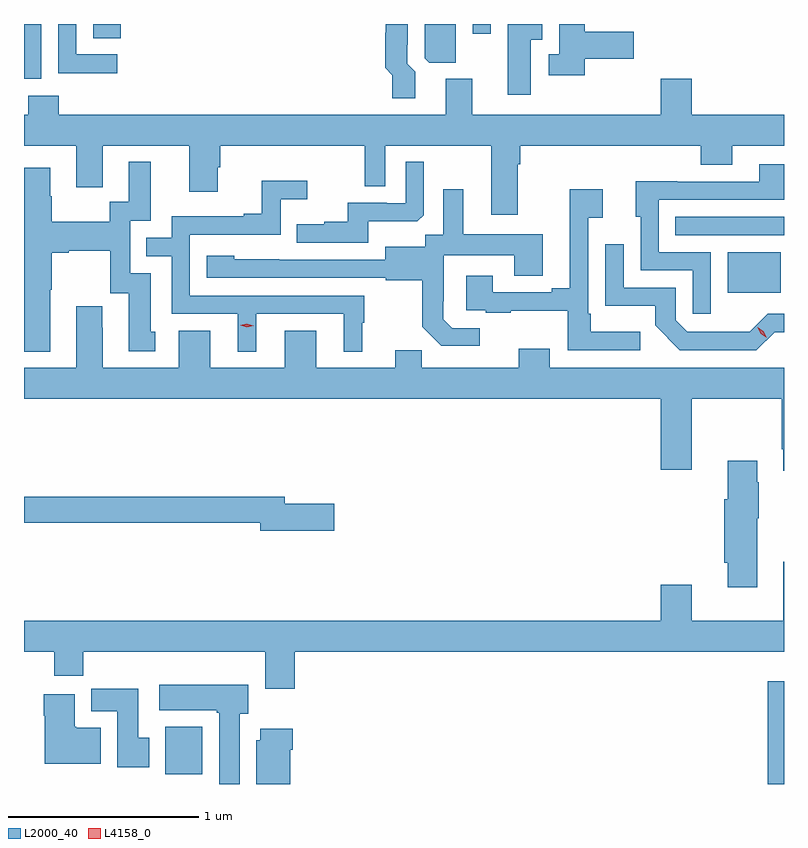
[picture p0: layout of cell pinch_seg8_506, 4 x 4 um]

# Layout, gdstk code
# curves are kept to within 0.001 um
import gdstk
lib = gdstk.Library(unit=1e-6, precision=1e-09)
def R(c, l, rs):  # rectangles x0, y0, x1, y1
    for r in rs: c.add(gdstk.rectangle(r[:2], r[2:], *l))
def P(c, l, *ps):  # polygons
    for p in ps: c.add(gdstk.Polygon(p, *l))
L2000_40 = (2000, 40)
L4158_0 = (4158, 0)

pinch_seg8_506 = lib.new_cell('pinch_seg8_506')
R(pinch_seg8_506, L2000_40, [(225.512,1106.481,225.598,1107.022), (222.341,1106.532,222.537,1106.782), (225.302,1109.066,225.58,1109.281), (225.025,1109.37,225.598,1109.466), (221.598,1110.194,221.689,1110.481), (221.963,1110.406,222.107,1110.481), (223.959,1110.429,224.055,1110.481)])
P(pinch_seg8_506, L2000_40, [(223.87,1110.481),(223.707,1110.481),(223.707,1110.3),(223.731,1110.277),(223.87,1110.277)],
  [(224.549,1110.298),(224.806,1110.298),(224.806,1110.44),(224.549,1110.44),(224.549,1110.481),(224.414,1110.481),(224.414,1110.322),(224.361,1110.322),(224.361,1110.212),(224.549,1110.212)],
  [(223.657,1110.23),(223.614,1110.273),(223.614,1110.373),(223.617,1110.373),(223.617,1110.481),(223.501,1110.481),(223.501,1110.434),(223.499,1110.434),(223.499,1110.25),(223.537,1110.212),(223.537,1110.09),(223.657,1110.09)],
  [(222.088,1110.321),(221.874,1110.321),(221.874,1110.481),(221.778,1110.481),(221.778,1110.223),(222.088,1110.223)],
  [(224.266,1110.398),(224.326,1110.398),(224.326,1110.481),(224.144,1110.481),(224.144,1110.108),(224.266,1110.108)],
  [(224.197,1109.744),(224.21,1109.744),(224.21,1109.84),(225.161,1109.84),(225.161,1109.741),(225.325,1109.741),(225.325,1109.84),(225.598,1109.84),(225.598,1110.004),(225.112,1110.004),(225.112,1110.193),(224.948,1110.193),(224.948,1110.004),(223.957,1110.004),(223.957,1110.192),(223.817,1110.192),(223.817,1110.004),(221.78,1110.004),(221.78,1110.103),(221.62,1110.103),(221.62,1110.004),(221.598,1110.004),(221.598,1109.84),(221.873,1109.84),(221.873,1109.622),(222.013,1109.622),(222.013,1109.84),(222.467,1109.84),(222.467,1109.598),(222.619,1109.598),(222.619,1109.727),(222.632,1109.727),(222.632,1109.84),(223.392,1109.84),(223.392,1109.626),(223.5,1109.626),(223.5,1109.84),(224.057,1109.84),(224.057,1109.478),(224.197,1109.478)],
  [(221.737,1109.083),(221.745,1109.083),(221.745,1109.276),(221.833,1109.276),(221.833,1109.288),(222.053,1109.288),(222.053,1109.064),(222.149,1109.064),(222.149,1108.758),(222.289,1108.758),(222.289,1108.86),(222.265,1108.86),(222.265,1109.169),(222.156,1109.169),(222.156,1109.445),(222.265,1109.445),(222.265,1109.755),(222.149,1109.755),(222.149,1109.546),(222.048,1109.546),(222.048,1109.44),(221.745,1109.44),(221.745,1109.574),(221.737,1109.574),(221.737,1109.725),(221.598,1109.725),(221.598,1108.757),(221.737,1108.757)],
  [(223.411,1109.444),(223.669,1109.444),(223.701,1109.475),(223.701,1109.755),(223.608,1109.755),(223.608,1109.538),(223.508,1109.538),(223.508,1109.541),(223.301,1109.541),(223.301,1109.44),(223.177,1109.44),(223.177,1109.428),(223.033,1109.428),(223.033,1109.331),(223.411,1109.331)],
  [(225.213,1109.28),(224.94,1109.28),(224.94,1109.556),(225.598,1109.556),(225.598,1109.743),(225.467,1109.743),(225.467,1109.652),(225.037,1109.652),(225.037,1109.654),(224.819,1109.654),(224.819,1109.466),(224.844,1109.466),(224.844,1109.184),(225.117,1109.184),(225.117,1108.956),(225.213,1108.956)],
  [(222.82,1108.956),(223.28,1108.956),(223.28,1108.757),(223.378,1108.757),(223.378,1108.908),(223.39,1108.908),(223.39,1109.052),(222.471,1109.052),(222.471,1109.373),(222.948,1109.373),(222.948,1109.558),(223.09,1109.558),(223.09,1109.657),(222.85,1109.657),(222.85,1109.482),(222.755,1109.482),(222.755,1109.469),(222.375,1109.469),(222.375,1109.355),(222.241,1109.355),(222.241,1109.259),(222.375,1109.259),(222.375,1108.956),(222.722,1108.956),(222.722,1108.757),(222.82,1108.757)],
  [(223.996,1108.881),(223.851,1108.881),(223.804,1108.928),(223.804,1109.023),(223.806,1109.023),(223.806,1109.264),(224.177,1109.264),(224.177,1109.155),(224.329,1109.155),(224.329,1109.374),(223.909,1109.374),(223.909,1109.611),(223.805,1109.611),(223.805,1109.372),(223.71,1109.372),(223.71,1109.308),(223.499,1109.308),(223.499,1109.241),(222.705,1109.242),(222.705,1109.26),(222.561,1109.26),(222.561,1109.145),(223.503,1109.145),(223.503,1109.133),(223.695,1109.133),(223.695,1108.887),(223.795,1108.787),(223.996,1108.787)],
  [(224.842,1108.861),(224.581,1108.861),(224.581,1108.957),(224.568,1108.957),(224.568,1109.462),(224.644,1109.462),(224.644,1109.611),(224.471,1109.611),(224.471,1109.089),(224.375,1109.089),(224.375,1109.07),(224.065,1109.07),(224.065,1109.155),(223.925,1109.155),(223.925,1108.974),(224.029,1108.974),(224.029,1108.962),(224.161,1108.962),(224.161,1108.973),(224.46,1108.973),(224.46,1108.764),(224.842,1108.764)],
  [(225.548,1108.859),(225.598,1108.859),(225.598,1108.956),(225.513,1108.956),(225.419,1108.862),(225.314,1108.862),(225.314,1108.86),(225.09,1108.86),(225.027,1108.923),(225.027,1109.094),(224.754,1109.094),(224.754,1109.323),(224.658,1109.323),(224.658,1108.997),(224.92,1108.997),(224.92,1108.895),(225.05,1108.764),(225.453,1108.764)],
  [(223.553,1108.763),(223.553,1108.672),(223.135,1108.672),(223.135,1108.867),(222.971,1108.867),(222.971,1108.672),(222.577,1108.672),(222.577,1108.867),(222.413,1108.867),(222.413,1108.672),(222.013,1108.672),(222.013,1108.883),(222.01,1108.883),(222.01,1108.996),(221.873,1108.996),(221.873,1108.672),(221.598,1108.672),(221.598,1108.508),(224.948,1108.508),(224.948,1108.134),(225.112,1108.134),(225.112,1108.508),(225.586,1108.508),(225.586,1108.243),(225.593,1108.243),(225.593,1108.131),(225.598,1108.131),(225.598,1108.672),(224.365,1108.672),(224.365,1108.771),(224.201,1108.771),(224.201,1108.672),(223.691,1108.672),(223.691,1108.763)],
  [(225.457,1107.881),(225.465,1107.881),(225.465,1108.07),(225.457,1108.07),(225.457,1108.183),(225.302,1108.183),(225.302,1107.981),(225.284,1107.981),(225.284,1107.645),(225.302,1107.645),(225.302,1107.516),(225.457,1107.516)],
  [(223.231,1107.956),(222.97,1107.956),(222.97,1107.992),(221.598,1107.992),(221.598,1107.856),(222.842,1107.856),(222.842,1107.814),(223.231,1107.814)],
  [(223.022,1107.176),(225.598,1107.176),(225.598,1107.652),(225.593,1107.652),(225.593,1107.34),(225.112,1107.34),(225.112,1107.529),(224.948,1107.529),(224.948,1107.34),(221.598,1107.34),(221.598,1107.176),(221.758,1107.176),(221.758,1107.052),(221.909,1107.052),(221.909,1107.176),(222.869,1107.176),(222.869,1106.982),(223.022,1106.982)],
  [(222.733,1106.85),(222.778,1106.85),(222.778,1107.004),(222.309,1107.004),(222.309,1106.87),(222.613,1106.87),(222.613,1106.857),(222.626,1106.857),(222.626,1106.481),(222.733,1106.481)],
  [(222.256,1106.724),(222.199,1106.724),(222.199,1106.982),(221.951,1106.982),(221.951,1106.864),(222.089,1106.864),(222.089,1106.568),(222.256,1106.568)],
  [(222.001,1106.776),(221.872,1106.776),(221.872,1106.782),(221.866,1106.782),(221.866,1106.953),(221.701,1106.953),(221.701,1106.84),(221.708,1106.84),(221.708,1106.588),(222.001,1106.588)],
  [(223,1106.66),(223.013,1106.66),(223.013,1106.773),(222.842,1106.773),(222.842,1106.712),(222.821,1106.712),(222.821,1106.481),(223,1106.481)])
P(pinch_seg8_506, L4158_0, [(225.506,1108.831),(225.475,1108.852),(225.459,1108.886),(225.459,1108.886),(225.46,1108.886),(225.49,1108.865),(225.506,1108.831),(225.506,1108.831)],
  [(222.771,1108.884),(222.735,1108.895),(222.735,1108.895),(222.735,1108.895),(222.771,1108.904),(222.806,1108.894),(222.807,1108.893),(222.806,1108.893)])

lib.write_gds('pinch_seg8_506.gds')
